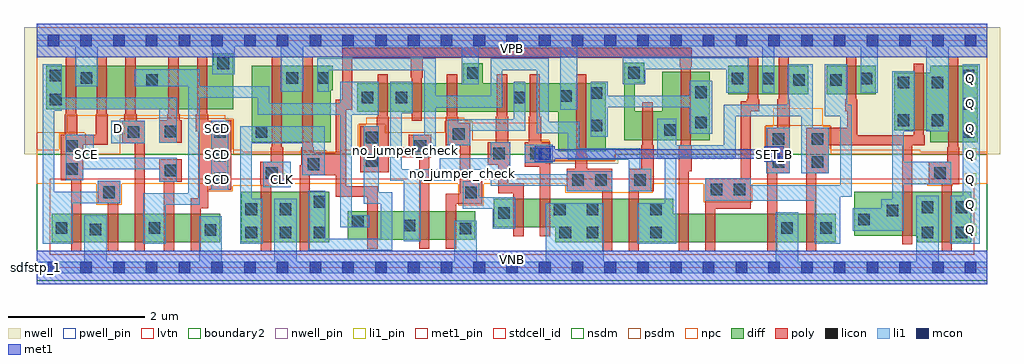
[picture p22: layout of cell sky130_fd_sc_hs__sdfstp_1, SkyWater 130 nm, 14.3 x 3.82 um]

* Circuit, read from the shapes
.subckt sky130_fd_sc_hs__sdfstp_1 CLK D Q SCD SCE SET_B VGND VNB VPB VPWR
XM1 VGND SCE n1 VNB sky130_fd_pr__nfet_01v8_lvt w=0.42 l=0.15
XM2 n2 n1 VGND VNB sky130_fd_pr__nfet_01v8_lvt w=0.42 l=0.15
XM3 n3 D n2 VNB sky130_fd_pr__nfet_01v8_lvt w=0.42 l=0.15
XM4 n4 SCE n3 VNB sky130_fd_pr__nfet_01v8_lvt w=0.42 l=0.15
XM5 VGND SCD n4 VNB sky130_fd_pr__nfet_01v8_lvt w=0.42 l=0.15
XM6 VGND CLK n5 VNB sky130_fd_pr__nfet_01v8_lvt w=0.74 l=0.15
XM7 n6 n5 VGND VNB sky130_fd_pr__nfet_01v8_lvt w=0.74 l=0.15
XM8 n7 n5 n3 VNB sky130_fd_pr__nfet_01v8_lvt w=0.42 l=0.15
XM9 n8 n6 n7 VNB sky130_fd_pr__nfet_01v8_lvt w=0.42 l=0.15
XM10 VGND n9 n8 VNB sky130_fd_pr__nfet_01v8_lvt w=0.42 l=0.15
XM11 n10 n7 n9 VNB sky130_fd_pr__nfet_01v8_lvt w=0.42 l=0.15
XM12 VGND SET_B n10 VNB sky130_fd_pr__nfet_01v8_lvt w=0.42 l=0.15
XM13 n11 n7 VGND VNB sky130_fd_pr__nfet_01v8_lvt w=0.64 l=0.15
XM14 n12 n6 n11 VNB sky130_fd_pr__nfet_01v8_lvt w=0.64 l=0.15
XM15 n13 n5 n12 VNB sky130_fd_pr__nfet_01v8_lvt w=0.42 l=0.15
XM16 n14 n15 n13 VNB sky130_fd_pr__nfet_01v8_lvt w=0.42 l=0.15
XM17 VGND SET_B n14 VNB sky130_fd_pr__nfet_01v8_lvt w=0.42 l=0.15
XM18 n15 n12 VGND VNB sky130_fd_pr__nfet_01v8_lvt w=0.42 l=0.15
XM19 VGND n12 n16 VNB sky130_fd_pr__nfet_01v8_lvt w=0.64 l=0.15
XM20 Q n16 VGND VNB sky130_fd_pr__nfet_01v8_lvt w=0.74 l=0.15
XM21 VPWR SCE n1 VPB sky130_fd_pr__pfet_01v8 w=0.64 l=0.15
XM22 n17 SCE VPWR VPB sky130_fd_pr__pfet_01v8 w=0.64 l=0.15
XM23 n3 D n17 VPB sky130_fd_pr__pfet_01v8 w=0.64 l=0.15
XM24 n18 n1 n3 VPB sky130_fd_pr__pfet_01v8 w=0.64 l=0.15
XM25 VPWR SCD n18 VPB sky130_fd_pr__pfet_01v8 w=0.64 l=0.15
XM26 VPWR CLK n5 VPB sky130_fd_pr__pfet_01v8 w=1.12 l=0.15
XM27 n6 n5 VPWR VPB sky130_fd_pr__pfet_01v8 w=1.12 l=0.15
XM28 n7 n6 n3 VPB sky130_fd_pr__pfet_01v8 w=0.42 l=0.15
XM29 n19 n5 n7 VPB sky130_fd_pr__pfet_01v8 w=0.42 l=0.15
XM30 VPWR n9 n19 VPB sky130_fd_pr__pfet_01v8 w=0.42 l=0.15
XM31 n9 n7 VPWR VPB sky130_fd_pr__pfet_01v8 w=0.42 l=0.15
XM32 VPWR SET_B n9 VPB sky130_fd_pr__pfet_01v8 w=0.42 l=0.15
XM33 n20 n7 VPWR VPB sky130_fd_pr__pfet_01v8 w=1 l=0.15
XM34 n12 n6 n21 VPB sky130_fd_pr__pfet_01v8 w=0.42 l=0.15
XM35 n20 n5 n12 VPB sky130_fd_pr__pfet_01v8 w=1 l=0.15
XM36 VPWR n15 n21 VPB sky130_fd_pr__pfet_01v8 w=0.42 l=0.15
XM37 n12 SET_B VPWR VPB sky130_fd_pr__pfet_01v8 w=0.42 l=0.15
XM38 VPWR n12 n15 VPB sky130_fd_pr__pfet_01v8 w=0.42 l=0.15
XM39 VPWR n12 n16 VPB sky130_fd_pr__pfet_01v8 w=0.84 l=0.15
XM40 Q n16 VPWR VPB sky130_fd_pr__pfet_01v8 w=1.12 l=0.15
.ends

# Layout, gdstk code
import gdstk
lib = gdstk.Library(unit=1e-6, precision=1e-09)
def R(c, l, rs):  # rectangles x0, y0, x1, y1
    for r in rs: c.add(gdstk.rectangle(r[:2], r[2:], *l))
def A(c, l, x, y, w, h, nx, ny, dx, dy):  # array of equal rectangles
    R(c, l, [(x+i*dx, y+j*dy, x+i*dx+w, y+j*dy+h) for i in range(nx) for j in range(ny)])
def P(c, l, *ps):  # polygons
    for p in ps: c.add(gdstk.Polygon(p, *l))
nwell_pin = (64, 16)
nwell = (64, 20)
diff = (65, 20)
poly = (66, 20)
licon = (66, 44)
li1_pin = (67, 16)
li1 = (67, 20)
mcon = (67, 44)
met1_pin = (68, 16)
met1 = (68, 20)
stdcell_id = (81, 4)
nsdm = (93, 44)
psdm = (94, 20)
npc = (95, 20)
pwell_pin = (122, 16)
lvtn = (125, 44)
boundary2 = (236, 0)

sky130_fd_sc_hs__sdfstp_ = lib.new_cell('sky130_fd_sc_hs__sdfstp_1')
R(sky130_fd_sc_hs__sdfstp_, nwell_pin, [(0,3.085,13.92,3.33)])
P(sky130_fd_sc_hs__sdfstp_, nwell, [(14.11,3.52),(-0.19,3.52),(-0.19,1.66),(7.455,1.66),(7.455,1.525),(8.515,1.525),(8.515,1.66),(14.11,1.66)])
R(sky130_fd_sc_hs__sdfstp_, diff, [(0.215,0.37,2.685,0.79), (2.995,0.37,4.285,1.11), (4.555,0.405,6.425,0.825), (10.13,2.54,11.3,2.96), (11.57,2.54,12.29,2.96)])
P(sky130_fd_sc_hs__sdfstp_, diff, [(2.875,3.14),(2.585,3.14),(2.585,2.96),(0.135,2.96),(0.135,2.32),(2.875,2.32)],
  [(4.335,2.96),(3.145,2.96),(3.145,1.84),(4.305,1.84),(4.305,2.6),(4.335,2.6)],
  [(8.335,2.705),(6.535,2.705),(6.535,2.995),(6.245,2.995),(6.245,2.705),(4.695,2.705),(4.695,2.285),(7.635,2.285),(7.635,1.705),(8.335,1.705)],
  [(9.86,2.87),(9.165,2.87),(9.165,2.29),(8.755,2.29),(8.755,2.71),(8.895,2.71),(8.895,3),(8.605,3),(8.605,1.87),(9.86,1.87)],
  [(11.705,0.79),(9.325,0.79),(9.325,1.01),(6.695,1.01),(6.695,0.59),(7.595,0.59),(7.595,0.37),(11.705,0.37)],
  [(13.69,1.11),(11.975,1.11),(11.975,0.47),(12.9,0.47),(12.9,0.37),(13.69,0.37)],
  [(13.785,2.96),(13.085,2.96),(13.085,2.855),(12.56,2.855),(12.56,2.015),(13.085,2.015),(13.085,1.84),(13.785,1.84)])
P(sky130_fd_sc_hs__sdfstp_, poly, [(13.515,1.765),(13.5,1.765),(13.5,3.09),(13.35,3.09),(13.35,1.765),(13.335,1.765),(13.335,1.55),(13.065,1.55),(13.065,1.22),(13.255,1.22),(13.255,0.24),(13.405,0.24),(13.405,1.22),(13.515,1.22)],
  [(13.01,1.94),(12.995,1.94),(12.995,2.985),(12.845,2.985),(12.845,1.94),(12.02,1.94),(12.02,2.465),(12.005,2.465),(12.005,3.09),(11.855,3.09),(11.855,2.465),(11.84,2.465),(11.84,2.29),(11.87,2.29),(11.87,2.05),(11.27,2.05),(11.27,0.24),(11.42,0.24),(11.42,1.38),(11.6,1.38),(11.6,1.79),(12.675,1.79),(12.675,0.34),(12.825,0.34),(12.825,1.79),(13.01,1.79)],
  [(11.03,2.465),(11.015,2.465),(11.015,3.09),(10.865,3.09),(10.865,2.465),(10.85,2.465),(10.85,2.05),(10.7,2.05),(10.7,0.24),(10.85,0.24),(10.85,1.38),(11.03,1.38)],
  [(10.58,2.465),(10.565,2.465),(10.565,3.09),(10.415,3.09),(10.415,2.465),(10.4,2.465),(10.4,2.44),(10.31,2.44),(10.31,1.31),(9.79,1.31),(9.79,0.24),(9.94,0.24),(9.94,0.865),(10.46,0.865),(10.46,2.29),(10.58,2.29)],
  [(9.595,1.795),(9.58,1.795),(9.58,2.945),(9.595,2.945),(9.595,3.225),(4.47,3.225),(4.47,2.46),(4.38,2.46),(4.38,1.68),(4.055,1.68),(4.055,1.765),(4.04,1.765),(4.04,3.09),(3.89,3.09),(3.89,1.765),(3.875,1.765),(3.875,1.5),(3.85,1.5),(3.85,0.24),(4,0.24),(4,1.35),(4.38,1.35),(4.38,1.04),(4.84,1.04),(4.84,0.275),(4.99,0.275),(4.99,1.19),(4.53,1.19),(4.53,2.31),(4.62,2.31),(4.62,3.075),(5.475,3.075),(5.475,2.78),(5.49,2.78),(5.49,2.155),(5.64,2.155),(5.64,2.78),(5.655,2.78),(5.655,3.075),(9.415,3.075),(9.415,2.945),(9.43,2.945),(9.43,1.795),(9.4,1.795),(9.4,0.24),(9.55,0.24),(9.55,1.41),(9.595,1.41)],
  [(9.035,1.795),(9.02,1.795),(9.02,2.42),(8.87,2.42),(8.87,1.795),(8.855,1.795),(8.855,1.45),(8.67,1.45),(8.67,0.24),(8.82,0.24),(8.82,1.12),(9.035,1.12)],
  [(8.43,1.45),(8.065,1.45),(8.065,1.63),(8.05,1.63),(8.05,2.835),(7.9,2.835),(7.9,1.63),(7.885,1.63),(7.885,1.45),(7.76,1.45),(7.76,1.12),(8.28,1.12),(8.28,0.24),(8.43,0.24)],
  [(7.52,1.835),(7.385,1.835),(7.385,2.21),(7.37,2.21),(7.37,2.835),(7.22,2.835),(7.22,2.21),(7.205,2.21),(7.205,1.835),(7.145,1.835),(7.145,1.48),(7.37,1.48),(7.37,0.46),(7.52,0.46)],
  [(7.13,1.24),(6.905,1.24),(6.905,1.505),(6.935,1.505),(6.935,1.835),(6.905,1.835),(6.905,2.21),(6.89,2.21),(6.89,2.835),(6.74,2.835),(6.74,2.21),(6.725,2.21),(6.725,1.835),(6.605,1.835),(6.605,1.505),(6.755,1.505),(6.755,1.09),(6.98,1.09),(6.98,0.46),(7.13,0.46)],
  [(6.525,1.265),(6.345,1.265),(6.345,2.125),(6.17,2.125),(6.17,2.21),(6.155,2.21),(6.155,2.835),(6.005,2.835),(6.005,2.21),(5.99,2.21),(5.99,1.795),(6.195,1.795),(6.195,1.085),(5.99,1.085),(5.99,0.275),(6.14,0.275),(6.14,0.935),(6.525,0.935)],
  [(5.78,1.945),(5.45,1.945),(5.45,1.765),(5.155,1.765),(5.155,2.21),(5.14,2.21),(5.14,2.835),(4.99,2.835),(4.99,2.21),(4.975,2.21),(4.975,2.07),(4.74,2.07),(4.74,1.4),(5.155,1.4),(5.155,1.615),(5.6,1.615),(5.6,0.275),(5.75,0.275),(5.75,1.615),(5.78,1.615)],
  [(3.605,1.765),(3.59,1.765),(3.59,3.09),(3.44,3.09),(3.44,1.765),(3.425,1.765),(3.425,1.55),(3.275,1.55),(3.275,1.22),(3.28,1.22),(3.28,0.24),(3.43,0.24),(3.43,1.22),(3.605,1.22)],
  [(2.845,2.15),(2.51,2.15),(2.51,2.245),(2.495,2.245),(2.495,3.09),(2.345,3.09),(2.345,2.245),(2.33,2.245),(2.33,2),(2.36,2),(2.36,1.02),(2.25,1.02),(2.25,0.24),(2.4,0.24),(2.4,0.87),(2.51,0.87),(2.51,1.14),(2.845,1.14)],
  [(2.12,1.59),(1.79,1.59),(1.79,1.26),(1.86,1.26),(1.86,0.24),(2.01,0.24),(2.01,1.26),(2.12,1.26)],
  [(2.12,2.16),(2.09,2.16),(2.09,2.245),(2.075,2.245),(2.075,3.09),(1.925,3.09),(1.925,2.245),(1.91,2.245),(1.91,2.16),(1.79,2.16),(1.79,1.83),(2.12,1.83)],
  [(1.58,2.15),(1.46,2.15),(1.46,2.245),(1.445,2.245),(1.445,3.09),(1.295,3.09),(1.295,2.245),(1.28,2.245),(1.28,2.15),(1.25,2.15),(1.25,1.82),(1.43,1.82),(1.43,0.24),(1.58,0.24)],
  [(1.22,1.27),(0.89,1.27),(0.89,0.94),(1.04,0.94),(1.04,0.24),(1.19,0.24),(1.19,0.94),(1.22,0.94)],
  [(1.04,2.245),(1.025,2.245),(1.025,3.09),(0.875,3.09),(0.875,2.245),(0.86,2.245),(0.86,1.95),(0.59,1.95),(0.59,2.245),(0.575,2.245),(0.575,3.09),(0.425,3.09),(0.425,2.245),(0.41,2.245),(0.41,1.95),(0.35,1.95),(0.35,1.28),(0.5,1.28),(0.5,0.24),(0.65,0.24),(0.65,1.28),(0.68,1.28),(0.68,1.8),(1.04,1.8)])
A(sky130_fd_sc_hs__sdfstp_, licon, 3.055, 0.43, 0.17, 0.17, 3, 1, 0.5, 0)
A(sky130_fd_sc_hs__sdfstp_, licon, 2.595, 1.22, 0.17, 0.17, 1, 3, 0, 0.34)
A(sky130_fd_sc_hs__sdfstp_, licon, 13.565, 1.9, 0.17, 0.17, 1, 3, 0, 0.415)
R(sky130_fd_sc_hs__sdfstp_, licon, [(7.655,0.43,7.825,0.6), (8.055,0.43,8.225,0.6), (8.985,0.43,9.155,0.6), (12.96,0.43,13.13,0.6), (13.46,0.43,13.63,0.6), (2.455,0.465,2.625,0.635), (0.775,0.475,0.945,0.645), (6.195,0.49,6.365,0.66), (0.275,0.495,0.445,0.665), (1.635,0.495,1.805,0.665), (10.905,0.495,11.075,0.665), (11.475,0.495,11.645,0.665), (5.375,0.53,5.545,0.7), (4.615,0.595,4.785,0.765), (12.035,0.62,12.205,0.79), (6.755,0.715,6.925,0.885), (12.45,0.755,12.62,0.925), (3.055,0.77,3.225,0.94), (3.555,0.77,3.725,0.94), (7.575,0.77,7.745,0.94), (8.055,0.77,8.225,0.94), (8.985,0.77,9.155,0.94), (12.96,0.8,13.13,0.97), (13.46,0.8,13.63,0.97), (4.055,0.88,4.225,1.05), (6.275,1.015,6.445,1.185), (0.97,1.02,1.14,1.19), (9.87,1.06,10.04,1.23), (10.21,1.06,10.38,1.23), (7.84,1.2,8.01,1.37), (8.18,1.2,8.35,1.37), (8.75,1.2,8.92,1.37), (3.355,1.3,3.525,1.47), (13.145,1.3,13.315,1.47), (1.87,1.34,2.04,1.51), (0.43,1.36,0.6,1.53), (3.965,1.43,4.135,1.6), (10.78,1.46,10.95,1.63), (11.35,1.46,11.52,1.63), (4.82,1.48,4.99,1.65), (6.685,1.585,6.855,1.755), (7.225,1.585,7.395,1.755), (5.53,1.695,5.7,1.865), (0.43,1.7,0.6,1.87), (10.78,1.8,10.95,1.97), (11.35,1.8,11.52,1.97), (4.82,1.82,4.99,1.99), (6.095,1.875,6.265,2.045), (1.33,1.9,1.5,2.07), (3.205,1.9,3.375,2.07), (1.87,1.91,2.04,2.08), (9.19,1.93,9.36,2.1), (8.115,2,8.285,2.17), (9.645,2.04,9.815,2.21), (12.61,2.075,12.78,2.245), (13.11,2.075,13.28,2.245), (0.19,2.38,0.36,2.55), (4.755,2.41,4.925,2.58), (5.255,2.41,5.425,2.58), (6.985,2.41,7.155,2.58), (7.665,2.43,7.835,2.6), (8.115,2.475,8.285,2.645), (9.645,2.485,9.815,2.655), (12.61,2.625,12.78,2.795), (13.11,2.625,13.28,2.795), (1.6,2.66,1.77,2.83), (11.08,2.665,11.25,2.835), (11.62,2.665,11.79,2.835), (10.18,2.685,10.35,2.855), (10.63,2.685,10.8,2.855), (12.07,2.685,12.24,2.855), (0.64,2.695,0.81,2.865), (3.655,2.695,3.825,2.865), (4.105,2.695,4.275,2.865), (0.19,2.73,0.36,2.9), (6.305,2.765,6.475,2.935), (8.665,2.77,8.835,2.94), (2.645,2.91,2.815,3.08)])
A(sky130_fd_sc_hs__sdfstp_, li1_pin, 13.595, 0.47, 0.17, 0.17, 1, 7, 0, 0.37)
A(sky130_fd_sc_hs__sdfstp_, li1_pin, 2.555, 1.21, 0.17, 0.17, 1, 3, 0, 0.37)
R(sky130_fd_sc_hs__sdfstp_, li1_pin, [(3.515,1.21,3.685,1.38), (0.635,1.58,0.805,1.75), (1.115,1.95,1.285,2.12)])
R(sky130_fd_sc_hs__sdfstp_, li1, [(2.555,1.14,2.805,2.15), (3.315,1.18,3.715,1.55), (10.685,1.38,11.03,2.05), (7.145,1.54,7.555,1.8), (1.085,1.82,1.58,2.15)])
P(sky130_fd_sc_hs__sdfstp_, li1, [(0,-0.085),(0,0.085),(0.695,0.085),(0.695,0.77),(1.025,0.77),(1.025,0.085),(2.375,0.085),(2.375,0.75),(2.705,0.75),(2.705,0.085),(3.475,0.085),(3.475,1.01),(3.805,1.01),(3.805,0.085),(6.115,0.085),(6.115,0.69),(6.445,0.69),(6.445,0.085),(7.455,0.085),(7.455,0.94),(8.305,0.94),(8.305,0.085),(10.825,0.085),(10.825,0.81),(11.155,0.81),(11.155,0.085),(12.88,0.085),(12.88,1.05),(13.21,1.05),(13.21,0.085),(13.92,0.085),(13.92,-0.085)],
  [(0,3.245),(0,3.415),(13.92,3.415),(13.92,3.245),(13.36,3.245),(13.36,1.995),(13.03,1.995),(13.03,3.245),(12.32,3.245),(12.32,2.56),(12.07,2.56),(12.07,3.245),(10.8,3.245),(10.8,2.56),(10.63,2.56),(10.63,3.245),(7.915,3.245),(7.915,2.31),(7.665,2.31),(7.665,3.245),(6.475,3.245),(6.475,2.685),(6.225,2.685),(6.225,3.245),(3.905,3.245),(3.905,2.58),(3.575,2.58),(3.575,3.245),(2.895,3.245),(2.895,2.83),(2.565,2.83),(2.565,3.245),(0.89,3.245),(0.89,2.66),(0.56,2.66),(0.56,3.245)],
  [(13.565,1.05),(13.565,2.98),(13.815,2.98),(13.815,0.35),(13.38,0.35),(13.38,1.05)],
  [(0.835,1.61),(2.045,1.61),(2.045,1.26),(1.79,1.26),(1.79,1.44),(0.68,1.44),(0.68,1.28),(0.425,1.28),(0.425,1.95),(0.835,1.95)],
  [(0.085,0.35),(0.085,2.98),(0.36,2.98),(0.36,2.49),(2.045,2.49),(2.045,1.83),(1.79,1.83),(1.79,2.32),(0.36,2.32),(0.36,2.3),(0.255,2.3),(0.255,1.11),(0.89,1.11),(0.89,1.27),(1.22,1.27),(1.22,0.94),(0.525,0.94),(0.525,0.35)],
  [(11.87,2.39),(11.94,2.39),(11.94,1.04),(11.77,1.04),(11.77,0.35),(11.395,0.35),(11.395,0.98),(9.79,0.98),(9.79,1.31),(10.46,1.31),(10.46,1.21),(11.77,1.21),(11.77,2.22),(11.54,2.22),(11.54,2.98),(11.87,2.98)],
  [(11.2,2.22),(10.235,2.22),(10.235,1.62),(9.365,1.62),(9.365,0.35),(8.795,0.35),(8.795,0.94),(9.195,0.94),(9.195,1.62),(9.09,1.62),(9.09,2.18),(9.365,2.18),(9.365,1.79),(10.065,1.79),(10.065,2.39),(11,2.39),(11,2.98),(11.37,2.98),(11.37,2.05),(11.6,2.05),(11.6,1.38),(11.2,1.38)],
  [(10.1,2.905),(8.915,2.905),(8.915,2.69),(8.585,2.69),(8.585,3.075),(10.43,3.075),(10.43,2.56),(10.1,2.56)],
  [(8.365,2.52),(9.565,2.52),(9.565,2.735),(9.895,2.735),(9.895,1.96),(9.565,1.96),(9.565,2.35),(8.365,2.35),(8.365,1.92),(8.115,1.92),(8.115,2.725),(8.365,2.725)],
  [(5.345,2.265),(5.345,1.445),(5.9,1.445),(5.9,1.605),(6.65,1.605),(6.65,1.835),(6.935,1.835),(6.935,1.37),(7.76,1.37),(7.76,1.41),(8.43,1.41),(8.43,1.12),(7.76,1.12),(7.76,1.2),(6.65,1.2),(6.65,1.435),(6.07,1.435),(6.07,1.275),(5.625,1.275),(5.625,0.385),(5.375,0.385),(5.375,1.275),(5.175,1.275),(5.175,2.725),(5.505,2.725),(5.505,2.265)],
  [(2.215,1.09),(2.215,2.66),(1.43,2.66),(1.43,2.91),(2.385,2.91),(2.385,2.66),(3.405,2.66),(3.405,2.41),(4.445,2.41),(4.445,2.725),(5.005,2.725),(5.005,2.24),(4.615,2.24),(4.615,0.765),(4.865,0.765),(4.865,0.595),(4.445,0.595),(4.445,2.24),(3.235,2.24),(3.235,2.49),(2.385,2.49),(2.385,0.92),(1.885,0.92),(1.885,0.35),(1.555,0.35),(1.555,1.09)],
  [(13.395,1.55),(12.7,1.55),(12.7,1.995),(12.86,1.995),(12.86,2.875),(12.53,2.875),(12.53,1.005),(12.37,1.005),(12.37,0.87),(11.955,0.87),(11.955,0.54),(12.7,0.54),(12.7,1.22),(13.395,1.22)],
  [(6.48,1.03),(7.005,1.03),(7.005,0.57),(6.675,0.57),(6.675,0.86),(6.24,0.86),(6.24,1.265),(6.48,1.265)],
  [(5.675,2.895),(4.275,2.895),(4.275,2.58),(4.105,2.58),(4.105,3.065),(5.845,3.065),(5.845,2.515),(6.645,2.515),(6.645,3.065),(7.495,3.065),(7.495,2.14),(7.945,2.14),(7.945,1.75),(8.84,1.75),(8.84,1.45),(9,1.45),(9,1.12),(8.67,1.12),(8.67,1.58),(7.775,1.58),(7.775,1.97),(7.325,1.97),(7.325,2.895),(6.815,2.895),(6.815,2.345),(5.845,2.345),(5.845,1.775),(5.73,1.775),(5.73,1.615),(5.515,1.615),(5.515,1.945),(5.675,1.945)],
  [(2.975,2.07),(4.215,2.07),(4.215,1.35),(3.885,1.35),(3.885,1.82),(3.145,1.82),(3.145,1.01),(3.305,1.01),(3.305,0.35),(2.975,0.35)],
  [(4.225,0.425),(5.035,0.425),(5.035,0.935),(4.785,0.935),(4.785,2.07),(5.005,2.07),(5.005,1.105),(5.205,1.105),(5.205,0.255),(3.975,0.255),(3.975,1.13),(4.225,1.13)],
  [(7.155,2.005),(6.345,2.005),(6.345,1.795),(6.015,1.795),(6.015,2.175),(6.985,2.175),(6.985,2.725),(7.155,2.725)])
A(sky130_fd_sc_hs__sdfstp_, mcon, 0.155, -0.085, 0.17, 0.17, 29, 2, 0.48, 3.33)
R(sky130_fd_sc_hs__sdfstp_, mcon, [(7.355,1.58,7.525,1.75), (10.715,1.58,10.885,1.75)])
R(sky130_fd_sc_hs__sdfstp_, met1_pin, [(0,0,13.92,0.245), (10.715,1.58,10.885,1.75), (0,3.085,13.92,3.33)])
R(sky130_fd_sc_hs__sdfstp_, met1, [(0,-0.245,13.92,0.245), (0,3.085,13.92,3.575)])
P(sky130_fd_sc_hs__sdfstp_, met1, [(7.585,1.735),(10.655,1.735),(10.655,1.78),(10.945,1.78),(10.945,1.55),(10.655,1.55),(10.655,1.595),(7.585,1.595),(7.585,1.55),(7.295,1.55),(7.295,1.78),(7.585,1.78)])
R(sky130_fd_sc_hs__sdfstp_, stdcell_id, [(0,0,13.92,3.33)])
P(sky130_fd_sc_hs__sdfstp_, nsdm, [(13.92,1.66),(8.465,1.66),(8.465,1.575),(7.505,1.575),(7.505,1.66),(0,1.66),(0,-0.19),(13.92,-0.19)])
P(sky130_fd_sc_hs__sdfstp_, psdm, [(13.92,3.52),(0,3.52),(0,1.98),(0.71,1.98),(0.71,1.66),(1.22,1.66),(1.22,2.18),(1.76,2.18),(1.76,2.19),(2.15,2.19),(2.15,2.18),(2.875,2.18),(2.875,1.66),(3.855,1.66),(3.855,1.71),(4.245,1.71),(4.245,1.66),(4.71,1.66),(4.71,2.1),(5.1,2.1),(5.1,1.975),(5.985,1.975),(5.985,2.155),(6.375,2.155),(6.375,1.865),(7.505,1.865),(7.505,1.575),(8.465,1.575),(8.465,1.66),(10.67,1.66),(10.67,2.08),(11.63,2.08),(11.63,1.66),(13.92,1.66)])
P(sky130_fd_sc_hs__sdfstp_, npc, [(13.92,1.7),(12.945,1.7),(12.945,1.73),(11.62,1.73),(11.62,2.07),(11.515,2.07),(11.515,2.335),(10.785,2.335),(10.785,2.07),(10.68,2.07),(10.68,1.73),(8.475,1.73),(8.475,1.565),(7.495,1.565),(7.495,1.855),(7.39,1.855),(7.39,2.12),(6.365,2.12),(6.365,2.145),(6.26,2.145),(6.26,2.195),(4.825,2.195),(4.825,2.09),(4.72,2.09),(4.72,1.73),(4.445,1.73),(4.445,1.7),(3.005,1.7),(3.005,1.73),(2.865,1.73),(2.865,2.17),(2.76,2.17),(2.76,2.23),(0.435,2.23),(0.435,1.97),(0.33,1.97),(0.33,1.73),(0,1.73),(0,1.23),(0.87,1.23),(0.87,0.92),(1.24,0.92),(1.24,1.23),(2.495,1.23),(2.495,1.12),(2.865,1.12),(2.865,1.2),(3.625,1.2),(3.625,1.23),(6.175,1.23),(6.175,0.915),(6.545,0.915),(6.545,1.23),(7.74,1.23),(7.74,1.1),(9.02,1.1),(9.02,1.23),(9.77,1.23),(9.77,0.96),(10.48,0.96),(10.48,1.23),(13.045,1.23),(13.045,1.2),(13.415,1.2),(13.415,1.23),(13.92,1.23)])
R(sky130_fd_sc_hs__sdfstp_, pwell_pin, [(0,0,13.92,0.245)])
R(sky130_fd_sc_hs__sdfstp_, lvtn, [(0.19,0.19,13.73,1.3)])
R(sky130_fd_sc_hs__sdfstp_, boundary2, [(0,0,13.92,3.33)])
sky130_fd_sc_hs__sdfstp_.add(gdstk.Label('sdfstp_1', (0,0), layer=83, texttype=44))
sky130_fd_sc_hs__sdfstp_.add(gdstk.Label('no_jumper_check', (6.24,1.385), layer=83, texttype=44))
sky130_fd_sc_hs__sdfstp_.add(gdstk.Label('no_jumper_check', (5.395,1.71), layer=83, texttype=44))
sky130_fd_sc_hs__sdfstp_.add(gdstk.Label('VNB', (6.96,0.123), layer=64, texttype=59))
sky130_fd_sc_hs__sdfstp_.add(gdstk.Label('VPB', (6.96,3.208), layer=64, texttype=5))
sky130_fd_sc_hs__sdfstp_.add(gdstk.Label('SET_B', (10.8,1.665), layer=68, texttype=5))
sky130_fd_sc_hs__sdfstp_.add(gdstk.Label('VPWR', (6.96,3.208), layer=68, texttype=5))
sky130_fd_sc_hs__sdfstp_.add(gdstk.Label('VGND', (6.96,0.123), layer=68, texttype=5))
sky130_fd_sc_hs__sdfstp_.add(gdstk.Label('Q', (13.68,0.555), layer=67, texttype=5))
sky130_fd_sc_hs__sdfstp_.add(gdstk.Label('Q', (13.68,0.925), layer=67, texttype=5))
sky130_fd_sc_hs__sdfstp_.add(gdstk.Label('Q', (13.68,1.295), layer=67, texttype=5))
sky130_fd_sc_hs__sdfstp_.add(gdstk.Label('Q', (13.68,1.665), layer=67, texttype=5))
sky130_fd_sc_hs__sdfstp_.add(gdstk.Label('Q', (13.68,2.035), layer=67, texttype=5))
sky130_fd_sc_hs__sdfstp_.add(gdstk.Label('Q', (13.68,2.405), layer=67, texttype=5))
sky130_fd_sc_hs__sdfstp_.add(gdstk.Label('Q', (13.68,2.775), layer=67, texttype=5))
sky130_fd_sc_hs__sdfstp_.add(gdstk.Label('SCD', (2.64,1.295), layer=67, texttype=5))
sky130_fd_sc_hs__sdfstp_.add(gdstk.Label('SCD', (2.64,1.665), layer=67, texttype=5))
sky130_fd_sc_hs__sdfstp_.add(gdstk.Label('SCD', (2.64,2.035), layer=67, texttype=5))
sky130_fd_sc_hs__sdfstp_.add(gdstk.Label('CLK', (3.6,1.295), layer=67, texttype=5))
sky130_fd_sc_hs__sdfstp_.add(gdstk.Label('SCE', (0.72,1.665), layer=67, texttype=5))
sky130_fd_sc_hs__sdfstp_.add(gdstk.Label('D', (1.2,2.035), layer=67, texttype=5))

lib.write_gds('sky130_fd_sc_hs__sdfstp_1.gds')
